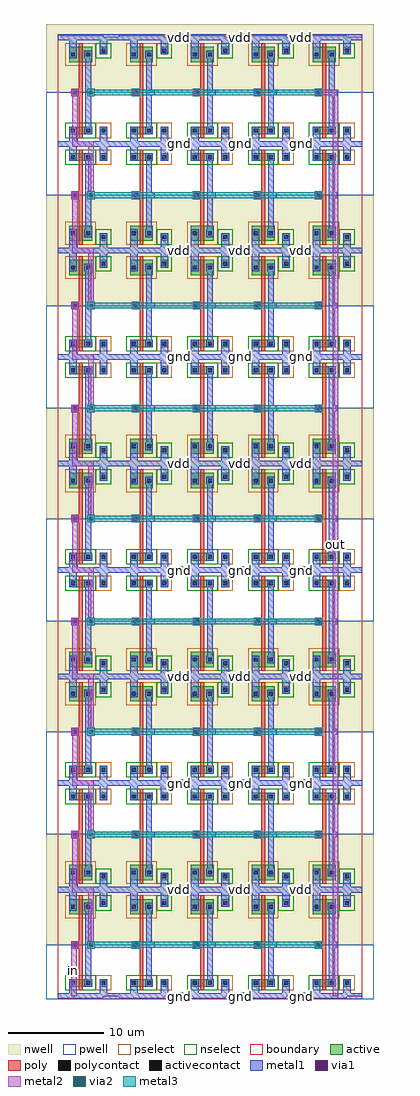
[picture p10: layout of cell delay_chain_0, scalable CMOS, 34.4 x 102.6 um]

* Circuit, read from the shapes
.subckt delay_chain_0 gnd in out vdd
M1 pinv_8_1/A in gnd gnd nfet w=0.8u l=0.4u
M2 pinv_8_10/A pinv_8_1/A gnd gnd nfet w=0.8u l=0.4u
M3 pinv_8_11/A pinv_8_10/A gnd gnd nfet w=0.8u l=0.4u
M4 pinv_8_16/A pinv_8_11/A gnd gnd nfet w=0.8u l=0.4u
M5 pinv_8_21/A pinv_8_16/A gnd gnd nfet w=0.8u l=0.4u
M6 pinv_8_26/A pinv_8_21/A gnd gnd nfet w=0.8u l=0.4u
M7 pinv_8_31/A pinv_8_26/A gnd gnd nfet w=0.8u l=0.4u
M8 pinv_8_36/A pinv_8_31/A gnd gnd nfet w=0.8u l=0.4u
M9 out pinv_8_36/A gnd gnd nfet w=0.8u l=0.4u
M10 pinv_8_1/Z pinv_8_1/A gnd gnd nfet w=0.8u l=0.4u
M11 pinv_8_6/Z pinv_8_10/A gnd gnd nfet w=0.8u l=0.4u
M12 pinv_8_11/Z pinv_8_11/A gnd gnd nfet w=0.8u l=0.4u
M13 pinv_8_16/Z pinv_8_16/A gnd gnd nfet w=0.8u l=0.4u
M14 pinv_8_21/Z pinv_8_21/A gnd gnd nfet w=0.8u l=0.4u
M15 pinv_8_26/Z pinv_8_26/A gnd gnd nfet w=0.8u l=0.4u
M16 pinv_8_31/Z pinv_8_31/A gnd gnd nfet w=0.8u l=0.4u
M17 pinv_8_36/Z pinv_8_36/A gnd gnd nfet w=0.8u l=0.4u
M18 pinv_8_41/Z out gnd gnd nfet w=0.8u l=0.4u
M19 pinv_8_2/Z pinv_8_1/A gnd gnd nfet w=0.8u l=0.4u
M20 pinv_8_7/Z pinv_8_10/A gnd gnd nfet w=0.8u l=0.4u
M21 pinv_8_12/Z pinv_8_11/A gnd gnd nfet w=0.8u l=0.4u
M22 pinv_8_17/Z pinv_8_16/A gnd gnd nfet w=0.8u l=0.4u
M23 pinv_8_22/Z pinv_8_21/A gnd gnd nfet w=0.8u l=0.4u
M24 pinv_8_27/Z pinv_8_26/A gnd gnd nfet w=0.8u l=0.4u
M25 pinv_8_32/Z pinv_8_31/A gnd gnd nfet w=0.8u l=0.4u
M26 pinv_8_37/Z pinv_8_36/A gnd gnd nfet w=0.8u l=0.4u
M27 pinv_8_42/Z out gnd gnd nfet w=0.8u l=0.4u
M28 pinv_8_3/Z pinv_8_1/A gnd gnd nfet w=0.8u l=0.4u
M29 pinv_8_8/Z pinv_8_10/A gnd gnd nfet w=0.8u l=0.4u
M30 pinv_8_13/Z pinv_8_11/A gnd gnd nfet w=0.8u l=0.4u
M31 pinv_8_18/Z pinv_8_16/A gnd gnd nfet w=0.8u l=0.4u
M32 pinv_8_23/Z pinv_8_21/A gnd gnd nfet w=0.8u l=0.4u
M33 pinv_8_28/Z pinv_8_26/A gnd gnd nfet w=0.8u l=0.4u
M34 pinv_8_33/Z pinv_8_31/A gnd gnd nfet w=0.8u l=0.4u
M35 pinv_8_38/Z pinv_8_36/A gnd gnd nfet w=0.8u l=0.4u
M36 pinv_8_43/Z out gnd gnd nfet w=0.8u l=0.4u
M37 pinv_8_4/Z pinv_8_1/A gnd gnd nfet w=0.8u l=0.4u
M38 pinv_8_9/Z pinv_8_10/A gnd gnd nfet w=0.8u l=0.4u
M39 pinv_8_14/Z pinv_8_11/A gnd gnd nfet w=0.8u l=0.4u
M40 pinv_8_19/Z pinv_8_16/A gnd gnd nfet w=0.8u l=0.4u
M41 pinv_8_24/Z pinv_8_21/A gnd gnd nfet w=0.8u l=0.4u
M42 pinv_8_29/Z pinv_8_26/A gnd gnd nfet w=0.8u l=0.4u
M43 pinv_8_34/Z pinv_8_31/A gnd gnd nfet w=0.8u l=0.4u
M44 pinv_8_39/Z pinv_8_36/A gnd gnd nfet w=0.8u l=0.4u
M45 pinv_8_44/Z out gnd gnd nfet w=0.8u l=0.4u
M46 pinv_8_1/A in vdd vdd pfet w=1.6u l=0.4u
M47 pinv_8_10/A pinv_8_1/A vdd vdd pfet w=1.6u l=0.4u
M48 pinv_8_11/A pinv_8_10/A vdd vdd pfet w=1.6u l=0.4u
M49 pinv_8_16/A pinv_8_11/A vdd vdd pfet w=1.6u l=0.4u
M50 pinv_8_21/A pinv_8_16/A vdd vdd pfet w=1.6u l=0.4u
M51 pinv_8_26/A pinv_8_21/A vdd vdd pfet w=1.6u l=0.4u
M52 pinv_8_31/A pinv_8_26/A vdd vdd pfet w=1.6u l=0.4u
M53 pinv_8_36/A pinv_8_31/A vdd vdd pfet w=1.6u l=0.4u
M54 out pinv_8_36/A vdd vdd pfet w=1.6u l=0.4u
M55 pinv_8_1/Z pinv_8_1/A vdd vdd pfet w=1.6u l=0.4u
M56 pinv_8_6/Z pinv_8_10/A vdd vdd pfet w=1.6u l=0.4u
M57 pinv_8_11/Z pinv_8_11/A vdd vdd pfet w=1.6u l=0.4u
M58 pinv_8_16/Z pinv_8_16/A vdd vdd pfet w=1.6u l=0.4u
M59 pinv_8_21/Z pinv_8_21/A vdd vdd pfet w=1.6u l=0.4u
M60 pinv_8_26/Z pinv_8_26/A vdd vdd pfet w=1.6u l=0.4u
M61 pinv_8_31/Z pinv_8_31/A vdd vdd pfet w=1.6u l=0.4u
M62 pinv_8_36/Z pinv_8_36/A vdd vdd pfet w=1.6u l=0.4u
M63 pinv_8_41/Z out vdd vdd pfet w=1.6u l=0.4u
M64 pinv_8_2/Z pinv_8_1/A vdd vdd pfet w=1.6u l=0.4u
M65 pinv_8_7/Z pinv_8_10/A vdd vdd pfet w=1.6u l=0.4u
M66 pinv_8_12/Z pinv_8_11/A vdd vdd pfet w=1.6u l=0.4u
M67 pinv_8_17/Z pinv_8_16/A vdd vdd pfet w=1.6u l=0.4u
M68 pinv_8_22/Z pinv_8_21/A vdd vdd pfet w=1.6u l=0.4u
M69 pinv_8_27/Z pinv_8_26/A vdd vdd pfet w=1.6u l=0.4u
M70 pinv_8_32/Z pinv_8_31/A vdd vdd pfet w=1.6u l=0.4u
M71 pinv_8_37/Z pinv_8_36/A vdd vdd pfet w=1.6u l=0.4u
M72 pinv_8_42/Z out vdd vdd pfet w=1.6u l=0.4u
M73 pinv_8_3/Z pinv_8_1/A vdd vdd pfet w=1.6u l=0.4u
M74 pinv_8_8/Z pinv_8_10/A vdd vdd pfet w=1.6u l=0.4u
M75 pinv_8_13/Z pinv_8_11/A vdd vdd pfet w=1.6u l=0.4u
M76 pinv_8_18/Z pinv_8_16/A vdd vdd pfet w=1.6u l=0.4u
M77 pinv_8_23/Z pinv_8_21/A vdd vdd pfet w=1.6u l=0.4u
M78 pinv_8_28/Z pinv_8_26/A vdd vdd pfet w=1.6u l=0.4u
M79 pinv_8_33/Z pinv_8_31/A vdd vdd pfet w=1.6u l=0.4u
M80 pinv_8_38/Z pinv_8_36/A vdd vdd pfet w=1.6u l=0.4u
M81 pinv_8_43/Z out vdd vdd pfet w=1.6u l=0.4u
M82 pinv_8_4/Z pinv_8_1/A vdd vdd pfet w=1.6u l=0.4u
M83 pinv_8_9/Z pinv_8_10/A vdd vdd pfet w=1.6u l=0.4u
M84 pinv_8_14/Z pinv_8_11/A vdd vdd pfet w=1.6u l=0.4u
M85 pinv_8_19/Z pinv_8_16/A vdd vdd pfet w=1.6u l=0.4u
M86 pinv_8_24/Z pinv_8_21/A vdd vdd pfet w=1.6u l=0.4u
M87 pinv_8_29/Z pinv_8_26/A vdd vdd pfet w=1.6u l=0.4u
M88 pinv_8_34/Z pinv_8_31/A vdd vdd pfet w=1.6u l=0.4u
M89 pinv_8_39/Z pinv_8_36/A vdd vdd pfet w=1.6u l=0.4u
M90 pinv_8_44/Z out vdd vdd pfet w=1.6u l=0.4u
.ends

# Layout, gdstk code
import gdstk
lib = gdstk.Library(unit=1e-6, precision=1e-09)
def R(c, l, rs):  # rectangles x0, y0, x1, y1
    for r in rs: c.add(gdstk.rectangle(r[:2], r[2:], *l))
def A(c, l, x, y, w, h, nx, ny, dx, dy):  # array of equal rectangles
    R(c, l, [(x+i*dx, y+j*dy, x+i*dx+w, y+j*dy+h) for i in range(nx) for j in range(ny)])
pwell = (41, 0)
nwell = (42, 0)
active = (43, 0)
pselect = (44, 0)
nselect = (45, 0)
poly = (46, 0)
polycontact = (47, 0)
activecontact = (48, 0)
metal1 = (49, 0)
via1 = (50, 0)
metal2 = (51, 0)
via2 = (61, 0)
metal3 = (62, 0)
boundary = (63, 0)

contact_11 = lib.new_cell('contact_11')
R(contact_11, nwell, [(-1.2,-1.2,2,2)])
R(contact_11, active, [(0,0,0.8,0.8)])
R(contact_11, pselect, [(-0.4,-0.4,1.2,1.2)])
R(contact_11, activecontact, [(0.2,0.2,0.6,0.6)])
R(contact_11, metal1, [(0,0,0.8,0.8)])

pmos_m1_w1_600_a_p = lib.new_cell('pmos_m1_w1_600_a_p')
R(pmos_m1_w1_600_a_p, nwell, [(-1.2,-1.2,3.6,2.8)])
R(pmos_m1_w1_600_a_p, active, [(0,0,2.4,1.6)])
R(pmos_m1_w1_600_a_p, pselect, [(-0.4,-0.4,2.8,2)])
R(pmos_m1_w1_600_a_p, poly, [(1,-0.4,1.4,2), (1,-0.4,1.4,2)])
R(pmos_m1_w1_600_a_p, metal1, [(0,0.4,0.8,1.2), (1.6,0.4,2.4,1.2)])
R(pmos_m1_w1_600_a_p, boundary, [(-1.2,-1.2,3.6,2.8)])
pmos_m1_w1_600_a_p.add(gdstk.Reference(contact_11, (0,0.4)))
pmos_m1_w1_600_a_p.add(gdstk.Reference(contact_11, (1.6,0.4)))
pmos_m1_w1_600_a_p.add(gdstk.Label('G', (1.2,0.8), layer=46, texttype=0))
pmos_m1_w1_600_a_p.add(gdstk.Label('S', (0.4,0.8), layer=49, texttype=0))
pmos_m1_w1_600_a_p.add(gdstk.Label('D', (2,0.8), layer=49, texttype=0))

contact_16 = lib.new_cell('contact_16')
R(contact_16, pwell, [(-1.2,-1.2,2,2)])
R(contact_16, active, [(0,0,0.8,0.8)])
R(contact_16, nselect, [(-0.4,-0.4,1.2,1.2)])
R(contact_16, activecontact, [(0.2,0.2,0.6,0.6)])
R(contact_16, metal1, [(0,0,0.8,0.8)])

nmos_m1_w0_800_a_p = lib.new_cell('nmos_m1_w0_800_a_p')
R(nmos_m1_w0_800_a_p, pwell, [(-1.2,-1.2,3.6,2)])
R(nmos_m1_w0_800_a_p, active, [(0,0,2.4,0.8)])
R(nmos_m1_w0_800_a_p, nselect, [(-0.4,-0.4,2.8,1.2)])
R(nmos_m1_w0_800_a_p, poly, [(1,-0.4,1.4,1.2), (1,-0.4,1.4,1.2)])
R(nmos_m1_w0_800_a_p, metal1, [(0,0,0.8,0.8), (1.6,0,2.4,0.8)])
R(nmos_m1_w0_800_a_p, boundary, [(-1.2,-1.2,3.6,2)])
nmos_m1_w0_800_a_p.add(gdstk.Reference(contact_16, (0,0)))
nmos_m1_w0_800_a_p.add(gdstk.Reference(contact_16, (1.6,0)))
nmos_m1_w0_800_a_p.add(gdstk.Label('G', (1.2,0.4), layer=46, texttype=0))
nmos_m1_w0_800_a_p.add(gdstk.Label('S', (0.4,0.4), layer=49, texttype=0))
nmos_m1_w0_800_a_p.add(gdstk.Label('D', (2,0.4), layer=49, texttype=0))

contact_13 = lib.new_cell('contact_13')
R(contact_13, nwell, [(-1.2,-1.2,2,2)])
R(contact_13, active, [(0,0,0.8,0.8)])
R(contact_13, nselect, [(-0.4,-0.4,1.2,1.2)])
R(contact_13, activecontact, [(0.2,0.2,0.6,0.6)])
R(contact_13, metal1, [(0,0,0.8,0.8)])

contact_17 = lib.new_cell('contact_17')
R(contact_17, pwell, [(-1.2,-1.2,2,2)])
R(contact_17, active, [(0,0,0.8,0.8)])
R(contact_17, pselect, [(-0.4,-0.4,1.2,1.2)])
R(contact_17, activecontact, [(0.2,0.2,0.6,0.6)])
R(contact_17, metal1, [(0,0,0.8,0.8)])

contact_12 = lib.new_cell('contact_12')
R(contact_12, poly, [(0,0,0.8,0.8)])
R(contact_12, polycontact, [(0.2,0.2,0.6,0.6)])
R(contact_12, metal1, [(0,0,0.8,0.8)])

pinv_8 = lib.new_cell('pinv_8')
R(pinv_8, pwell, [(-1.2,-0.3,7.6,5.4)])
R(pinv_8, nwell, [(-1.2,5.4,7.6,12.6)])
R(pinv_8, poly, [(2.2,2.2,2.6,8.2), (1.8,5,2.2,5.8)])
R(pinv_8, metal1, [(0,-0.3,6.4,0.3), (1.2,-0.3,2,1), (4.4,0,5.2,1.4), (2.9,1,3.5,9.8), (1.4,5,2.2,5.8), (3.2,5.1,3.8,5.7), (1.2,9,2,11.5), (4.4,9.8,5.2,11.2), (0,10.9,6.4,11.5)])
R(pinv_8, boundary, [(0,0,6.4,11.2)])
pinv_8.add(gdstk.Reference(pmos_m1_w1_600_a_p, (1.2,8.6)))
pinv_8.add(gdstk.Reference(nmos_m1_w0_800_a_p, (1.2,1)))
pinv_8.add(gdstk.Reference(contact_13, (4.4,9.4)))
pinv_8.add(gdstk.Reference(contact_17, (4.4,1)))
pinv_8.add(gdstk.Reference(contact_12, (1.4,5)))
pinv_8.add(gdstk.Label('gnd', (3.2,0), layer=49, texttype=0))
pinv_8.add(gdstk.Label('vdd', (3.2,11.2), layer=49, texttype=0))
pinv_8.add(gdstk.Label('A', (1.8,5.4), layer=49, texttype=0))
pinv_8.add(gdstk.Label('Z', (3.5,5.4), layer=49, texttype=0))

contact_19 = lib.new_cell('contact_19')
R(contact_19, metal1, [(0,0,0.8,0.8)])
R(contact_19, via1, [(0.2,0.2,0.6,0.6)])
R(contact_19, metal2, [(0,0,0.8,0.8)])

contact_9 = lib.new_cell('contact_9')
R(contact_9, metal2, [(0,0,0.8,0.8)])
R(contact_9, via2, [(0.2,0.2,0.6,0.6)])
R(contact_9, metal3, [(0,0,0.8,0.8)])

contact_7 = lib.new_cell('contact_7')
R(contact_7, metal1, [(0,0,0.8,0.8)])
R(contact_7, via1, [(0.2,0.2,0.6,0.6)])
R(contact_7, metal2, [(0,0,0.8,0.8)])

contact_8 = lib.new_cell('contact_8')
R(contact_8, metal2, [(0,0,0.8,0.8)])
R(contact_8, via2, [(0.2,0.2,0.6,0.6)])
R(contact_8, metal3, [(0,0,0.8,0.8)])

delay_chain_0 = lib.new_cell('delay_chain_0')
A(delay_chain_0, metal2, 3.2, 5.4, 0.6, 5.8, 1, 4, 0, 22.4)
A(delay_chain_0, metal2, 1.5, 10.9, 0.6, 0.6, 1, 8, 0, 11.2)
A(delay_chain_0, metal2, 1.8, 10.9, 1.7, 0.6, 1, 8, 0, 11.2)
A(delay_chain_0, metal2, 3.2, 10.9, 0.6, 0.6, 1, 8, 0, 11.2)
A(delay_chain_0, metal2, 1.5, 11.2, 0.6, 5.8, 1, 4, 0, 22.4)
A(delay_chain_0, metal2, 3.2, 17, 0.6, 5.4, 1, 4, 0, 22.4)
A(delay_chain_0, metal2, 1.5, 22.4, 0.6, 5.4, 1, 4, 0, 22.4)
R(delay_chain_0, metal2, [(1.4,0,2,5.4), (28.9,0,29.5,95), (28.9,0,29.5,95), (27.4,94.7,29.2,95.3), (28.9,94.7,29.5,95.3)])
A(delay_chain_0, metal3, 12.4, -0.4, 0.8, 0.8, 3, 10, 6.4, 11.2)
R(delay_chain_0, metal3, [(3.5,5.1,27.4,5.7), (3.5,16.7,27.4,17.3), (3.5,27.5,27.4,28.1), (3.5,39.1,27.4,39.7), (3.5,49.9,27.4,50.5), (3.5,61.5,27.4,62.1), (3.5,72.3,27.4,72.9), (3.5,83.9,27.4,84.5), (3.5,94.7,27.4,95.3)])
R(delay_chain_0, boundary, [(0,0,32,100.8)])
delay_chain_0.add(gdstk.Reference(pinv_8, (0,0)))
delay_chain_0.add(gdstk.Reference(pinv_8, (6.4,0)))
delay_chain_0.add(gdstk.Reference(pinv_8, (12.8,0)))
delay_chain_0.add(gdstk.Reference(pinv_8, (19.2,0)))
delay_chain_0.add(gdstk.Reference(pinv_8, (25.6,0)))
delay_chain_0.add(gdstk.Reference(pinv_8, (0,22.4), x_reflection=True))
delay_chain_0.add(gdstk.Reference(pinv_8, (6.4,22.4), x_reflection=True))
delay_chain_0.add(gdstk.Reference(pinv_8, (12.8,22.4), x_reflection=True))
delay_chain_0.add(gdstk.Reference(pinv_8, (19.2,22.4), x_reflection=True))
delay_chain_0.add(gdstk.Reference(pinv_8, (25.6,22.4), x_reflection=True))
delay_chain_0.add(gdstk.Reference(pinv_8, (0,22.4)))
delay_chain_0.add(gdstk.Reference(pinv_8, (6.4,22.4)))
delay_chain_0.add(gdstk.Reference(pinv_8, (12.8,22.4)))
delay_chain_0.add(gdstk.Reference(pinv_8, (19.2,22.4)))
delay_chain_0.add(gdstk.Reference(pinv_8, (25.6,22.4)))
delay_chain_0.add(gdstk.Reference(pinv_8, (0,44.8), x_reflection=True))
delay_chain_0.add(gdstk.Reference(pinv_8, (6.4,44.8), x_reflection=True))
delay_chain_0.add(gdstk.Reference(pinv_8, (12.8,44.8), x_reflection=True))
delay_chain_0.add(gdstk.Reference(pinv_8, (19.2,44.8), x_reflection=True))
delay_chain_0.add(gdstk.Reference(pinv_8, (25.6,44.8), x_reflection=True))
delay_chain_0.add(gdstk.Reference(pinv_8, (0,44.8)))
delay_chain_0.add(gdstk.Reference(pinv_8, (6.4,44.8)))
delay_chain_0.add(gdstk.Reference(pinv_8, (12.8,44.8)))
delay_chain_0.add(gdstk.Reference(pinv_8, (19.2,44.8)))
delay_chain_0.add(gdstk.Reference(pinv_8, (25.6,44.8)))
delay_chain_0.add(gdstk.Reference(pinv_8, (0,67.2), x_reflection=True))
delay_chain_0.add(gdstk.Reference(pinv_8, (6.4,67.2), x_reflection=True))
delay_chain_0.add(gdstk.Reference(pinv_8, (12.8,67.2), x_reflection=True))
delay_chain_0.add(gdstk.Reference(pinv_8, (19.2,67.2), x_reflection=True))
delay_chain_0.add(gdstk.Reference(pinv_8, (25.6,67.2), x_reflection=True))
delay_chain_0.add(gdstk.Reference(pinv_8, (0,67.2)))
delay_chain_0.add(gdstk.Reference(pinv_8, (6.4,67.2)))
delay_chain_0.add(gdstk.Reference(pinv_8, (12.8,67.2)))
delay_chain_0.add(gdstk.Reference(pinv_8, (19.2,67.2)))
delay_chain_0.add(gdstk.Reference(pinv_8, (25.6,67.2)))
delay_chain_0.add(gdstk.Reference(pinv_8, (0,89.6), x_reflection=True))
delay_chain_0.add(gdstk.Reference(pinv_8, (6.4,89.6), x_reflection=True))
delay_chain_0.add(gdstk.Reference(pinv_8, (12.8,89.6), x_reflection=True))
delay_chain_0.add(gdstk.Reference(pinv_8, (19.2,89.6), x_reflection=True))
delay_chain_0.add(gdstk.Reference(pinv_8, (25.6,89.6), x_reflection=True))
delay_chain_0.add(gdstk.Reference(pinv_8, (0,89.6)))
delay_chain_0.add(gdstk.Reference(pinv_8, (6.4,89.6)))
delay_chain_0.add(gdstk.Reference(pinv_8, (12.8,89.6)))
delay_chain_0.add(gdstk.Reference(pinv_8, (19.2,89.6)))
delay_chain_0.add(gdstk.Reference(pinv_8, (25.6,89.6)))
delay_chain_0.add(gdstk.Reference(contact_19, (7.8,5)))
delay_chain_0.add(gdstk.Reference(contact_9, (7.8,5)))
delay_chain_0.add(gdstk.Reference(contact_19, (14.2,5)))
delay_chain_0.add(gdstk.Reference(contact_9, (14.2,5)))
delay_chain_0.add(gdstk.Reference(contact_19, (20.6,5)))
delay_chain_0.add(gdstk.Reference(contact_9, (20.6,5)))
delay_chain_0.add(gdstk.Reference(contact_19, (27,5)))
delay_chain_0.add(gdstk.Reference(contact_9, (27,5)))
delay_chain_0.add(gdstk.Reference(contact_19, (1.4,5)))
delay_chain_0.add(gdstk.Reference(contact_19, (3.1,5)))
delay_chain_0.add(gdstk.Reference(contact_9, (3.1,5)))
delay_chain_0.add(gdstk.Reference(contact_19, (7.8,16.6)))
delay_chain_0.add(gdstk.Reference(contact_9, (7.8,16.6)))
delay_chain_0.add(gdstk.Reference(contact_19, (14.2,16.6)))
delay_chain_0.add(gdstk.Reference(contact_9, (14.2,16.6)))
delay_chain_0.add(gdstk.Reference(contact_19, (20.6,16.6)))
delay_chain_0.add(gdstk.Reference(contact_9, (20.6,16.6)))
delay_chain_0.add(gdstk.Reference(contact_19, (27,16.6)))
delay_chain_0.add(gdstk.Reference(contact_9, (27,16.6)))
delay_chain_0.add(gdstk.Reference(contact_19, (1.4,16.6)))
delay_chain_0.add(gdstk.Reference(contact_19, (3.1,16.6)))
delay_chain_0.add(gdstk.Reference(contact_9, (3.1,16.6)))
delay_chain_0.add(gdstk.Reference(contact_19, (7.8,27.4)))
delay_chain_0.add(gdstk.Reference(contact_9, (7.8,27.4)))
delay_chain_0.add(gdstk.Reference(contact_19, (14.2,27.4)))
delay_chain_0.add(gdstk.Reference(contact_9, (14.2,27.4)))
delay_chain_0.add(gdstk.Reference(contact_19, (20.6,27.4)))
delay_chain_0.add(gdstk.Reference(contact_9, (20.6,27.4)))
delay_chain_0.add(gdstk.Reference(contact_19, (27,27.4)))
delay_chain_0.add(gdstk.Reference(contact_9, (27,27.4)))
delay_chain_0.add(gdstk.Reference(contact_19, (1.4,27.4)))
delay_chain_0.add(gdstk.Reference(contact_19, (3.1,27.4)))
delay_chain_0.add(gdstk.Reference(contact_9, (3.1,27.4)))
delay_chain_0.add(gdstk.Reference(contact_19, (7.8,39)))
delay_chain_0.add(gdstk.Reference(contact_9, (7.8,39)))
delay_chain_0.add(gdstk.Reference(contact_19, (14.2,39)))
delay_chain_0.add(gdstk.Reference(contact_9, (14.2,39)))
delay_chain_0.add(gdstk.Reference(contact_19, (20.6,39)))
delay_chain_0.add(gdstk.Reference(contact_9, (20.6,39)))
delay_chain_0.add(gdstk.Reference(contact_19, (27,39)))
delay_chain_0.add(gdstk.Reference(contact_9, (27,39)))
delay_chain_0.add(gdstk.Reference(contact_19, (1.4,39)))
delay_chain_0.add(gdstk.Reference(contact_19, (3.1,39)))
delay_chain_0.add(gdstk.Reference(contact_9, (3.1,39)))
delay_chain_0.add(gdstk.Reference(contact_19, (7.8,49.8)))
delay_chain_0.add(gdstk.Reference(contact_9, (7.8,49.8)))
delay_chain_0.add(gdstk.Reference(contact_19, (14.2,49.8)))
delay_chain_0.add(gdstk.Reference(contact_9, (14.2,49.8)))
delay_chain_0.add(gdstk.Reference(contact_19, (20.6,49.8)))
delay_chain_0.add(gdstk.Reference(contact_9, (20.6,49.8)))
delay_chain_0.add(gdstk.Reference(contact_19, (27,49.8)))
delay_chain_0.add(gdstk.Reference(contact_9, (27,49.8)))
delay_chain_0.add(gdstk.Reference(contact_19, (1.4,49.8)))
delay_chain_0.add(gdstk.Reference(contact_19, (3.1,49.8)))
delay_chain_0.add(gdstk.Reference(contact_9, (3.1,49.8)))
delay_chain_0.add(gdstk.Reference(contact_19, (7.8,61.4)))
delay_chain_0.add(gdstk.Reference(contact_9, (7.8,61.4)))
delay_chain_0.add(gdstk.Reference(contact_19, (14.2,61.4)))
delay_chain_0.add(gdstk.Reference(contact_9, (14.2,61.4)))
delay_chain_0.add(gdstk.Reference(contact_19, (20.6,61.4)))
delay_chain_0.add(gdstk.Reference(contact_9, (20.6,61.4)))
delay_chain_0.add(gdstk.Reference(contact_19, (27,61.4)))
delay_chain_0.add(gdstk.Reference(contact_9, (27,61.4)))
delay_chain_0.add(gdstk.Reference(contact_19, (1.4,61.4)))
delay_chain_0.add(gdstk.Reference(contact_19, (3.1,61.4)))
delay_chain_0.add(gdstk.Reference(contact_9, (3.1,61.4)))
delay_chain_0.add(gdstk.Reference(contact_19, (7.8,72.2)))
delay_chain_0.add(gdstk.Reference(contact_9, (7.8,72.2)))
delay_chain_0.add(gdstk.Reference(contact_19, (14.2,72.2)))
delay_chain_0.add(gdstk.Reference(contact_9, (14.2,72.2)))
delay_chain_0.add(gdstk.Reference(contact_19, (20.6,72.2)))
delay_chain_0.add(gdstk.Reference(contact_9, (20.6,72.2)))
delay_chain_0.add(gdstk.Reference(contact_19, (27,72.2)))
delay_chain_0.add(gdstk.Reference(contact_9, (27,72.2)))
delay_chain_0.add(gdstk.Reference(contact_19, (1.4,72.2)))
delay_chain_0.add(gdstk.Reference(contact_19, (3.1,72.2)))
delay_chain_0.add(gdstk.Reference(contact_9, (3.1,72.2)))
delay_chain_0.add(gdstk.Reference(contact_19, (7.8,83.8)))
delay_chain_0.add(gdstk.Reference(contact_9, (7.8,83.8)))
delay_chain_0.add(gdstk.Reference(contact_19, (14.2,83.8)))
delay_chain_0.add(gdstk.Reference(contact_9, (14.2,83.8)))
delay_chain_0.add(gdstk.Reference(contact_19, (20.6,83.8)))
delay_chain_0.add(gdstk.Reference(contact_9, (20.6,83.8)))
delay_chain_0.add(gdstk.Reference(contact_19, (27,83.8)))
delay_chain_0.add(gdstk.Reference(contact_9, (27,83.8)))
delay_chain_0.add(gdstk.Reference(contact_19, (1.4,83.8)))
delay_chain_0.add(gdstk.Reference(contact_19, (3.1,83.8)))
delay_chain_0.add(gdstk.Reference(contact_9, (3.1,83.8)))
delay_chain_0.add(gdstk.Reference(contact_19, (7.8,94.6)))
delay_chain_0.add(gdstk.Reference(contact_9, (7.8,94.6)))
delay_chain_0.add(gdstk.Reference(contact_19, (14.2,94.6)))
delay_chain_0.add(gdstk.Reference(contact_9, (14.2,94.6)))
delay_chain_0.add(gdstk.Reference(contact_19, (20.6,94.6)))
delay_chain_0.add(gdstk.Reference(contact_9, (20.6,94.6)))
delay_chain_0.add(gdstk.Reference(contact_19, (27,94.6)))
delay_chain_0.add(gdstk.Reference(contact_9, (27,94.6)))
delay_chain_0.add(gdstk.Reference(contact_19, (1.4,94.6)))
delay_chain_0.add(gdstk.Reference(contact_19, (3.1,94.6)))
delay_chain_0.add(gdstk.Reference(contact_9, (3.1,94.6)))
delay_chain_0.add(gdstk.Reference(contact_7, (12.4,10.8)))
delay_chain_0.add(gdstk.Reference(contact_8, (12.4,10.8)))
delay_chain_0.add(gdstk.Reference(contact_7, (12.4,-0.4)))
delay_chain_0.add(gdstk.Reference(contact_8, (12.4,-0.4)))
delay_chain_0.add(gdstk.Reference(contact_7, (18.8,10.8)))
delay_chain_0.add(gdstk.Reference(contact_8, (18.8,10.8)))
delay_chain_0.add(gdstk.Reference(contact_7, (18.8,-0.4)))
delay_chain_0.add(gdstk.Reference(contact_8, (18.8,-0.4)))
delay_chain_0.add(gdstk.Reference(contact_7, (25.2,10.8)))
delay_chain_0.add(gdstk.Reference(contact_8, (25.2,10.8)))
delay_chain_0.add(gdstk.Reference(contact_7, (25.2,-0.4)))
delay_chain_0.add(gdstk.Reference(contact_8, (25.2,-0.4)))
delay_chain_0.add(gdstk.Reference(contact_7, (12.4,33.2)))
delay_chain_0.add(gdstk.Reference(contact_8, (12.4,33.2)))
delay_chain_0.add(gdstk.Reference(contact_7, (12.4,22)))
delay_chain_0.add(gdstk.Reference(contact_8, (12.4,22)))
delay_chain_0.add(gdstk.Reference(contact_7, (18.8,33.2)))
delay_chain_0.add(gdstk.Reference(contact_8, (18.8,33.2)))
delay_chain_0.add(gdstk.Reference(contact_7, (18.8,22)))
delay_chain_0.add(gdstk.Reference(contact_8, (18.8,22)))
delay_chain_0.add(gdstk.Reference(contact_7, (25.2,33.2)))
delay_chain_0.add(gdstk.Reference(contact_8, (25.2,33.2)))
delay_chain_0.add(gdstk.Reference(contact_7, (25.2,22)))
delay_chain_0.add(gdstk.Reference(contact_8, (25.2,22)))
delay_chain_0.add(gdstk.Reference(contact_7, (12.4,55.6)))
delay_chain_0.add(gdstk.Reference(contact_8, (12.4,55.6)))
delay_chain_0.add(gdstk.Reference(contact_7, (12.4,44.4)))
delay_chain_0.add(gdstk.Reference(contact_8, (12.4,44.4)))
delay_chain_0.add(gdstk.Reference(contact_7, (18.8,55.6)))
delay_chain_0.add(gdstk.Reference(contact_8, (18.8,55.6)))
delay_chain_0.add(gdstk.Reference(contact_7, (18.8,44.4)))
delay_chain_0.add(gdstk.Reference(contact_8, (18.8,44.4)))
delay_chain_0.add(gdstk.Reference(contact_7, (25.2,55.6)))
delay_chain_0.add(gdstk.Reference(contact_8, (25.2,55.6)))
delay_chain_0.add(gdstk.Reference(contact_7, (25.2,44.4)))
delay_chain_0.add(gdstk.Reference(contact_8, (25.2,44.4)))
delay_chain_0.add(gdstk.Reference(contact_7, (12.4,78)))
delay_chain_0.add(gdstk.Reference(contact_8, (12.4,78)))
delay_chain_0.add(gdstk.Reference(contact_7, (12.4,66.8)))
delay_chain_0.add(gdstk.Reference(contact_8, (12.4,66.8)))
delay_chain_0.add(gdstk.Reference(contact_7, (18.8,78)))
delay_chain_0.add(gdstk.Reference(contact_8, (18.8,78)))
delay_chain_0.add(gdstk.Reference(contact_7, (18.8,66.8)))
delay_chain_0.add(gdstk.Reference(contact_8, (18.8,66.8)))
delay_chain_0.add(gdstk.Reference(contact_7, (25.2,78)))
delay_chain_0.add(gdstk.Reference(contact_8, (25.2,78)))
delay_chain_0.add(gdstk.Reference(contact_7, (25.2,66.8)))
delay_chain_0.add(gdstk.Reference(contact_8, (25.2,66.8)))
delay_chain_0.add(gdstk.Reference(contact_7, (12.4,100.4)))
delay_chain_0.add(gdstk.Reference(contact_8, (12.4,100.4)))
delay_chain_0.add(gdstk.Reference(contact_7, (12.4,89.2)))
delay_chain_0.add(gdstk.Reference(contact_8, (12.4,89.2)))
delay_chain_0.add(gdstk.Reference(contact_7, (18.8,100.4)))
delay_chain_0.add(gdstk.Reference(contact_8, (18.8,100.4)))
delay_chain_0.add(gdstk.Reference(contact_7, (18.8,89.2)))
delay_chain_0.add(gdstk.Reference(contact_8, (18.8,89.2)))
delay_chain_0.add(gdstk.Reference(contact_7, (25.2,100.4)))
delay_chain_0.add(gdstk.Reference(contact_8, (25.2,100.4)))
delay_chain_0.add(gdstk.Reference(contact_7, (25.2,89.2)))
delay_chain_0.add(gdstk.Reference(contact_8, (25.2,89.2)))
delay_chain_0.add(gdstk.Reference(contact_7, (12.4,89.2)))
delay_chain_0.add(gdstk.Reference(contact_8, (12.4,89.2)))
delay_chain_0.add(gdstk.Reference(contact_7, (18.8,89.2)))
delay_chain_0.add(gdstk.Reference(contact_8, (18.8,89.2)))
delay_chain_0.add(gdstk.Reference(contact_7, (25.2,89.2)))
delay_chain_0.add(gdstk.Reference(contact_8, (25.2,89.2)))
delay_chain_0.add(gdstk.Reference(contact_19, (1.4,5)))
delay_chain_0.add(gdstk.Reference(contact_19, (27,94.6)))
delay_chain_0.add(gdstk.Label('vdd', (19.2,33.6), layer=62, texttype=0))
delay_chain_0.add(gdstk.Label('vdd', (12.8,11.2), layer=62, texttype=0))
delay_chain_0.add(gdstk.Label('vdd', (12.8,78.4), layer=62, texttype=0))
delay_chain_0.add(gdstk.Label('vdd', (12.8,100.8), layer=62, texttype=0))
delay_chain_0.add(gdstk.Label('vdd', (12.8,56), layer=62, texttype=0))
delay_chain_0.add(gdstk.Label('vdd', (19.2,78.4), layer=62, texttype=0))
delay_chain_0.add(gdstk.Label('vdd', (19.2,100.8), layer=62, texttype=0))
delay_chain_0.add(gdstk.Label('vdd', (25.6,78.4), layer=62, texttype=0))
delay_chain_0.add(gdstk.Label('vdd', (12.8,33.6), layer=62, texttype=0))
delay_chain_0.add(gdstk.Label('vdd', (25.6,56), layer=62, texttype=0))
delay_chain_0.add(gdstk.Label('vdd', (25.6,33.6), layer=62, texttype=0))
delay_chain_0.add(gdstk.Label('vdd', (25.6,11.2), layer=62, texttype=0))
delay_chain_0.add(gdstk.Label('vdd', (19.2,11.2), layer=62, texttype=0))
delay_chain_0.add(gdstk.Label('vdd', (25.6,100.8), layer=62, texttype=0))
delay_chain_0.add(gdstk.Label('vdd', (19.2,56), layer=62, texttype=0))
delay_chain_0.add(gdstk.Label('gnd', (25.6,22.4), layer=62, texttype=0))
delay_chain_0.add(gdstk.Label('gnd', (25.6,44.8), layer=62, texttype=0))
delay_chain_0.add(gdstk.Label('gnd', (12.8,67.2), layer=62, texttype=0))
delay_chain_0.add(gdstk.Label('gnd', (25.6,67.2), layer=62, texttype=0))
delay_chain_0.add(gdstk.Label('gnd', (25.6,0), layer=62, texttype=0))
delay_chain_0.add(gdstk.Label('gnd', (25.6,89.6), layer=62, texttype=0))
delay_chain_0.add(gdstk.Label('gnd', (19.2,89.6), layer=62, texttype=0))
delay_chain_0.add(gdstk.Label('gnd', (12.8,44.8), layer=62, texttype=0))
delay_chain_0.add(gdstk.Label('gnd', (19.2,44.8), layer=62, texttype=0))
delay_chain_0.add(gdstk.Label('gnd', (19.2,67.2), layer=62, texttype=0))
delay_chain_0.add(gdstk.Label('gnd', (12.8,0), layer=62, texttype=0))
delay_chain_0.add(gdstk.Label('gnd', (19.2,0), layer=62, texttype=0))
delay_chain_0.add(gdstk.Label('gnd', (12.8,22.4), layer=62, texttype=0))
delay_chain_0.add(gdstk.Label('gnd', (12.8,89.6), layer=62, texttype=0))
delay_chain_0.add(gdstk.Label('gnd', (19.2,22.4), layer=62, texttype=0))
delay_chain_0.add(gdstk.Label('in', (1.7,2.7), layer=51, texttype=0))
delay_chain_0.add(gdstk.Label('out', (29.2,47.5), layer=51, texttype=0))

lib.write_gds('delay_chain_0.gds')
